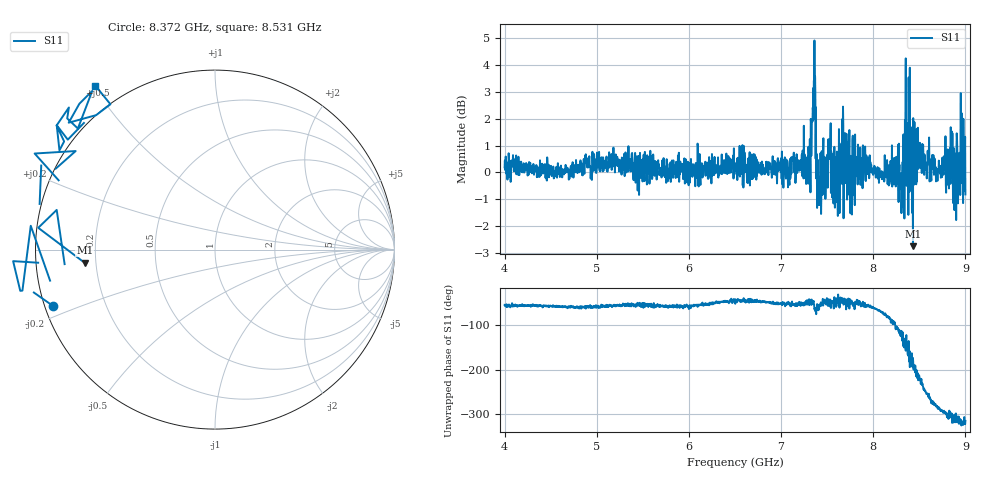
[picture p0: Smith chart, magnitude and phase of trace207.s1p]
! Created with skrf 1.8.0 (http://scikit-rf.org).
# Hz S RI R 50.0
!freq ReS11 ImS11
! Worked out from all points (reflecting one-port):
!   1601 points, 4 GHz to 9 GHz, reference 50 ohm
!   lowest |S11| = -2.7 dB at 8.431 GHz (marker M1), VSWR 6.40, Z = 7.83 - j2.46 ohm
!   phase of S11 starts at -56 deg and turns -259 deg over the sweep
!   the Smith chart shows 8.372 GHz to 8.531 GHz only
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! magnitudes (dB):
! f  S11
! 4 GHz  0.2
! 4.625 GHz  -0.2
! 5.25 GHz  0.1
! 5.875 GHz  0.0
! 6.5 GHz  0.3
! 7.125 GHz  0.5
! 7.294 GHz  -0.4
! 7.347 GHz  2.2
! 7.362 GHz  4.9
! 7.4 GHz  0.5
! 7.412 GHz  -0.2
! 7.512 GHz  1.2
! 7.609 GHz  -0.4
! 7.669 GHz  1.1
! 7.75 GHz  0.4
! 7.828 GHz  0.4
! 8.097 GHz  0.0
! 8.253 GHz  0.1
! 8.312 GHz  -0.1
! 8.334 GHz  0.1
! 8.375 GHz  0.3
! 8.406 GHz  0.9
! 8.431 GHz  -2.7
! 8.459 GHz  -0.4
! 8.834 GHz  0.9
! 8.906 GHz  1.5
! 8.959 GHz  2.2
! 9 GHz  -0.8
